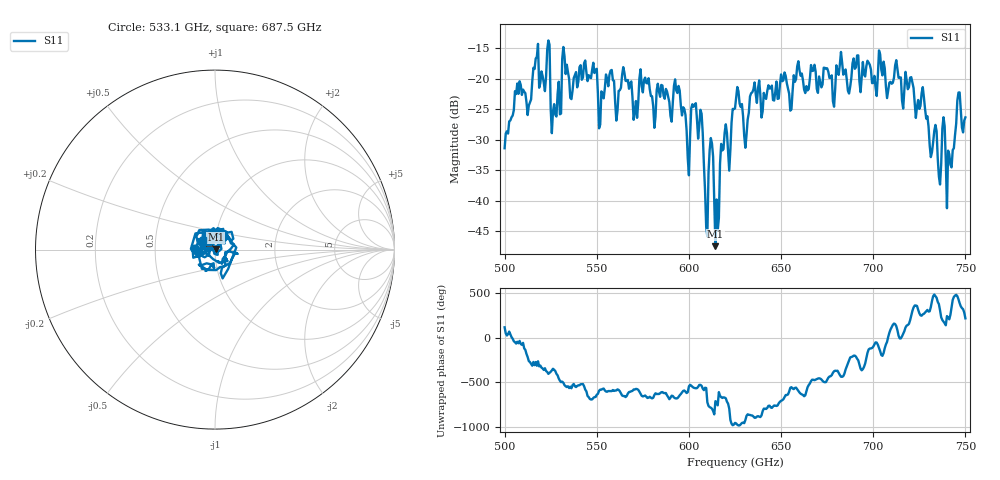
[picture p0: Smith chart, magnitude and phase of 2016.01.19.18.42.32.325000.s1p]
!Created with skrf (http://scikit-rf.org).
# GHz S RI R 50.0
!freq ReS11 ImS11
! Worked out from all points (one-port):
!   401 points, 500 GHz to 750 GHz, reference 50 ohm
!   lowest |S11| = -47.4 dB at 614.4 GHz (marker M1), VSWR 1.01, Z = 50.4 + j0.0806 ohm
!   |S11| at or under -10 dB: start of sweep to end of sweep
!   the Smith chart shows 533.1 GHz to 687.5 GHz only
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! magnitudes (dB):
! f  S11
! 500 GHz  -31.4
! 506.9 GHz  -20.8
! 513.1 GHz  -24.4
! 516.9 GHz  -16.7
! 523.8 GHz  -13.7
! 526.9 GHz  -24.2
! 531.2 GHz  -16.7
! 562.5 GHz  -21.9
! 593.8 GHz  -22.3
! 599.4 GHz  -33.0
! 602.5 GHz  -24.6
! 606.2 GHz  -25.1
! 609.4 GHz  -44.3
! 611.9 GHz  -29.7
! 614.4 GHz  -47.4
! 618.8 GHz  -31.5
! 621.9 GHz  -35.1
! 625 GHz  -24.9
! 630.6 GHz  -31.3
! 634.4 GHz  -22.2
! 656.2 GHz  -22.0
! 687.5 GHz  -21.3
! 718.8 GHz  -21.7
! 735.6 GHz  -36.0
! 738.1 GHz  -26.3
! 741.2 GHz  -32.3
! 746.2 GHz  -22.3
! 750 GHz  -26.3
